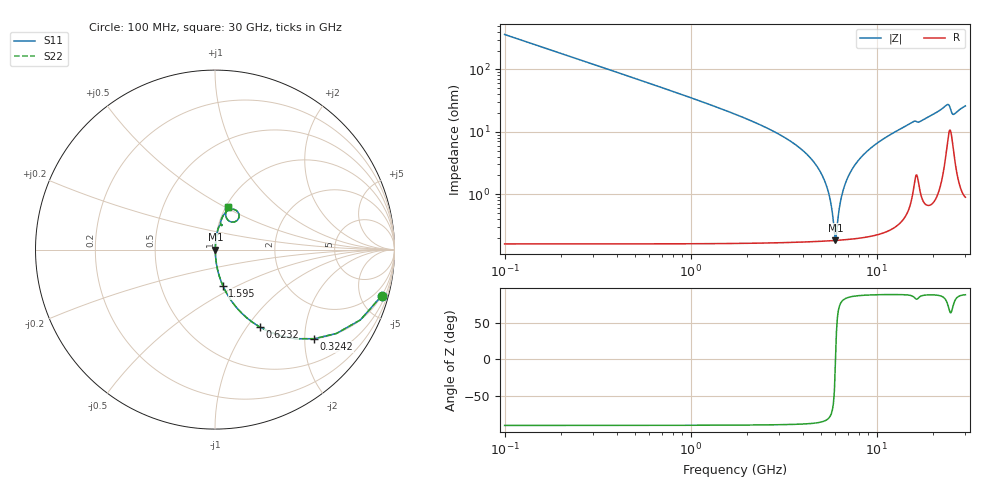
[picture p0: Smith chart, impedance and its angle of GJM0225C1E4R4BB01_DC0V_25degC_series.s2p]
!Murata Part Number: GJM0225C1E4R4BB01
!These Parameters are Measured in Series Mode Connection
!  o--ll--o
!Port1  Port2
!  o------o
!Operation Temp=25[degC], DC Bias Voltage=0[V]
!Freq. Start=100[MHz] Stop=30[GHz], 401[Steps]
!Data Generated on Feb 1, 2023
# Hz S RI R 50
!Freq.(Hz) S11(Real) S11(Imag) S21(Real) S21(Imag) S12(Real) S12(Imag) S22(Real) S22(Imag)
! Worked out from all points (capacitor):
!   401 points, 100 MHz to 30 GHz, reference 50 ohm
!   read as one part in series: C = 4.4 pF near 249.5 MHz
!   lowest |Z| = 182 mohm at 6.005 GHz (marker M1)
!   series resonance near 6.011 GHz, so ESL is about 160 pH
!   S11 on the Smith chart (normalised r, x): 100 MHz: 1.00, -7.23; 324.2 MHz: 1.00, -2.22; 623.2 MHz: 1.00, -1.15; 1.595 GHz: 1.00, -0.42; 30 GHz: 1.02, +0.52
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1e8  0.9289 -0.2568  0.0711 0.2568  0.0711 0.2568  0.9289 -0.2568
3.2425e8  0.5529 -0.4965  0.4471 0.4965  0.4471 0.4965  0.5529 -0.4965
6.2325e8  0.2485 -0.4308  0.7515 0.4308  0.7515 0.4308  0.2485 -0.4308
9.97e8  0.1118 -0.3129  0.8882 0.3129  0.8882 0.3129  0.1118 -0.3129
1.595e9  0.044 -0.2012  0.956 0.2012  0.956 0.2012  0.044 -0.2012
4.1365e9  0.00383 -0.0458  0.9962 0.0458  0.9962 0.0458  0.00383 -0.0458
5.10825e9  0.00215 -0.0196  0.9978 0.0196  0.9978 0.0196  0.00215 -0.0196
5.55675e9  0.00188 -0.00946  0.9981 0.00946  0.9981 0.00946  0.00188 -0.00946
5.85575e9  0.00182 -0.00314  0.9982 0.00314  0.9982 0.00314  0.00182 -0.00314
6.00525e9  0.00182 -0.000109  0.9982 0.000109  0.9982 0.000109  0.00182 -0.000109
6.15475e9  0.00183 0.00285  0.9982 -0.00285  0.9982 -0.00285  0.00183 0.00285
6.30425e9  0.00187 0.00574  0.9981 -0.00574  0.9981 -0.00574  0.00187 0.00574
6.5285e9  0.00195 0.00996  0.9981 -0.00996  0.9981 -0.00996  0.00195 0.00996
7.20125e9  0.00238 0.0219  0.9976 -0.0219  0.9976 -0.0219  0.00238 0.0219
8.3225e9  0.0036 0.04  0.9964 -0.04  0.9964 -0.04  0.0036 0.04
1.01165e10  0.00661 0.0659  0.9934 -0.0659  0.9934 -0.0659  0.00661 0.0659
1.505e10  0.0236 0.1302  0.9764 -0.1302  0.9764 -0.1302  0.0236 0.1302
2.005825e10  0.041 0.1803  0.959 -0.1803  0.959 -0.1803  0.041 0.1803
2.38705e10  0.1098 0.2225  0.8902 -0.2225  0.8902 -0.2225  0.1098 0.2225
2.50665e10  0.1188 0.1593  0.8812 -0.1593  0.8812 -0.1593  0.1188 0.1593
2.588875e10  0.0759 0.1612  0.9241 -0.1612  0.9241 -0.1612  0.0759 0.1612
3e10  0.0705 0.2392  0.9295 -0.2392  0.9295 -0.2392  0.0705 0.2392
